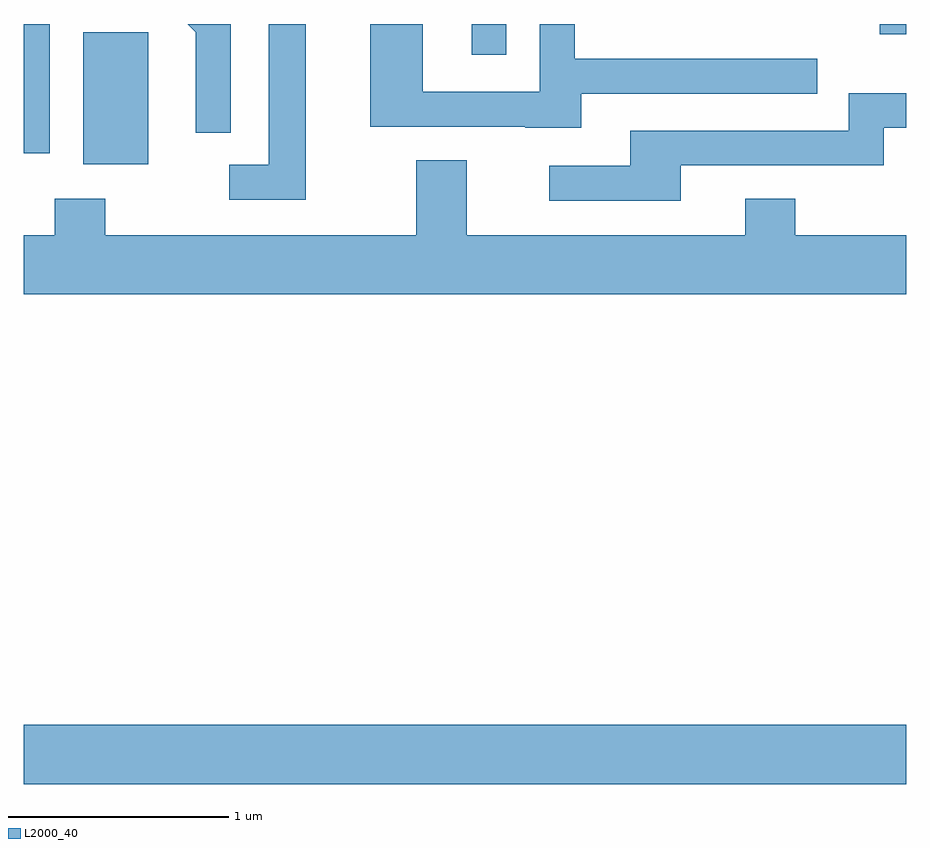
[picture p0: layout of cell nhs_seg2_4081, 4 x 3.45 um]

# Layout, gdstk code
import gdstk
lib = gdstk.Library(unit=1e-6, precision=1e-09)
def R(c, l, rs):  # rectangles x0, y0, x1, y1
    for r in rs: c.add(gdstk.rectangle(r[:2], r[2:], *l))
def P(c, l, *ps):  # polygons
    for p in ps: c.add(gdstk.Polygon(p, *l))
L2000_40 = (2000, 40)

nhs_seg2_4081 = lib.new_cell('nhs_seg2_4081')
R(nhs_seg2_4081, L2000_40, [(305.611,1008.356,309.611,1008.624), (305.881,1011.166,306.174,1011.764), (305.611,1011.216,305.729,1011.802), (307.641,1011.663,307.799,1011.802), (309.491,1011.756,309.611,1011.802)])
P(nhs_seg2_4081, L2000_40, [(308.139,1011.486),(309.208,1011.486),(309.208,1011.644),(308.109,1011.644),(308.109,1011.802),(307.951,1011.802),(307.951,1011.494),(307.419,1011.494),(307.419,1011.802),(307.181,1011.802),(307.181,1011.336),(307.885,1011.336),(307.885,1011.331),(308.139,1011.331)],
  [(306.549,1011.802),(306.353,1011.802),(306.391,1011.764),(306.391,1011.308),(306.549,1011.308)],
  [(306.889,1011.802),(306.721,1011.802),(306.721,1011.164),(306.543,1011.164),(306.543,1011.006),(306.889,1011.006)],
  [(308.589,1011.161),(309.509,1011.161),(309.509,1011.331),(309.611,1011.331),(309.611,1011.489),(309.351,1011.489),(309.351,1011.319),(308.361,1011.319),(308.361,1011.159),(307.993,1011.159),(307.993,1011.001),(308.589,1011.001)],
  [(309.611,1010.844),(309.109,1010.844),(309.109,1011.009),(308.881,1011.009),(308.881,1010.844),(307.619,1010.844),(307.619,1011.184),(307.391,1011.184),(307.391,1010.844),(305.979,1010.844),(305.979,1011.009),(305.751,1011.009),(305.751,1010.844),(305.611,1010.844),(305.611,1010.576),(309.611,1010.576)])

lib.write_gds('nhs_seg2_4081.gds')
